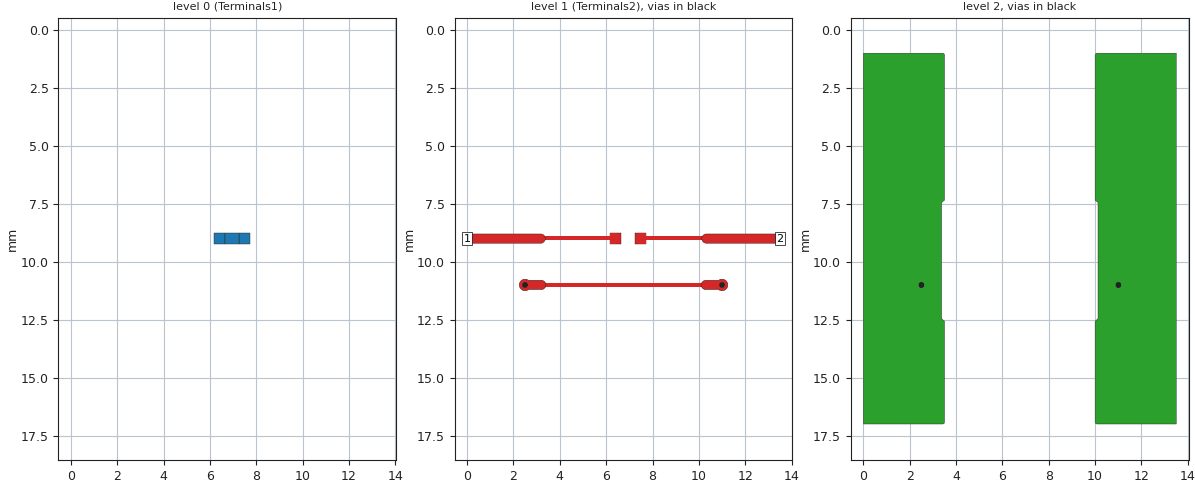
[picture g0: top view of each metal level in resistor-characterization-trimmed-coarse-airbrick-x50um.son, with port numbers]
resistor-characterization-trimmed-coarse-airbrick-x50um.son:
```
FTYP SONPROJ 19 ! Sonnet Project File
VER 18.56
HEADER
LIC antikernel2.1.51813
DAT 11/06/2022 09:23:04
BUILT_BY_CREATED xgeom 18.54 09/23/2022 20:17:08
BUILT_BY_SAVED sonnet 18.56
MDATE 11/06/2022 09:23:04
HDATE 11/06/2022 09:23:04
ANN Created by dxfgeo, Sonnet Software Inc.
END HEADER
DIM
ANG DEG
CAP FF
CON /OH
FREQ GHZ
IND PH
LNG MM
RES OH
END DIM
CONTROL
VARSWP
OPTIONS  -dj
SPEED 1
CACHE_ABS 2
Q_ACC N
END CONTROL
GEO
DRP1 LEFT NONE 2
DRP1 RIGHT NONE 2
TMET "Free Space" 0 FREESPACE 376.7303136 0 0 0
BMET "Free Space" 0 FREESPACE 376.7303136 0 0 0
MET "Copper_1oz+plated_thick_up" 1 TMM 58000000 0.5 0.0432 2
MET "Copper_1oz+plated_thin" 4 NOR 58000000 0.5 0.0432 
MET "Copper_0.5oz_thin" 2 NOR 58000000 0.5 0.0175 
MET "Copper_1oz+plated_thick_down" 3 TMM 58000000 0.5 0.0432 2 CDVY TDWN
MET "Nickel" 1 TVM 7.5e-06 0.175  RSVY
MET "Nickel 0.175mm" 5 TMM 6.99e-08 0.5 0.175 4 RSVY
MET "Tin" 2 TVM 8700000 0.5 
MET "Copper" 4 TMM 58000000 0.5 0.035 2 CDVY TDWN
MET "Solder" 37 TMM 8700000 0.5 0.5 4
MET "Resistor 265" 3 RES 265  0.05
MET "Resistor 375" 6 RES 375  0.035
MET "Copper 35um" 1 VOL 58000000 0.035
BRI "Alumina 99.5" 1 9.8 0.0001 0 
BOX 5 13.5 18 540 1440 20 0
      10 1 1 0 0 0 0 "Air"
      0.5 1 1 0 0 0 5 "Air"
      0.2021 3.61 1 0.0092 0 0 2 "Isola_FR408HR"
      1.1938 3.61 1 0.0092 0 0 2 "Isola_FR408HR"
      0.2021 3.61 1 0.0092 0 0 2 "Isola_FR408HR"
      10 1 1 0 0 0 0 "Air"
TECHLAY METAL Terminals1 <UNSPECIFIED> -12 -65534 
0 0 0 N 550 1 1 100 100 0 0 0 Y
END
END
TECHLAY METAL Resistor <UNSPECIFIED> -13 -65534 
0 0 10 N 552 1 1 100 100 0 0 0 Y
END
END
TECHLAY METAL Terminals2 <UNSPECIFIED> -9 -65534 
1 0 3 N 555 1 1 100 100 0 0 0 Y
END
END
TECHLAY METAL NickelLeadwire <UNSPECIFIED> -8 -65534 
1 0 5 N 557 1 1 100 100 0 0 0 Y
END
END
TECHLAY METAL Solder <UNSPECIFIED> -11 -65534 
1 0 8 N 559 1 1 100 100 0 0 0 Y
END
END
TECHLAY BRICK ResistorBody <UNSPECIFIED> -10 -65534 
BRI POLY
1 0 1 N 695 1 1 100 100 0 0 0 Y
END
END
TECHLAY METAL F.Cu_thin <UNSPECIFIED> -2 -65534 CAD F.Cu_thin drawing 
1 0 1 N 563 1 1 100 100 0 0 0 Y
END
END
TECHLAY METAL F.Cu_thick L1D0 -1 -65534 CAD F.Cu drawing 
1 0 0 N 565 1 1 100 100 0 0 0 Y
END
END
TECHLAY VIA Via1 L3D0 -7 -65534 CAD Via1 drawing 
VIA POLYGON
1 0 11 N 696 1 1 100 100 0 0 0 Y
TOLEVEL 4 RING NOCOVERS
END
END
TECHLAY METAL In1.Cu L2D0 -3 -65534 CAD In1.Cu drawing 
2 0 2 N 576 1 1 100 100 0 0 0 Y
END
END
TECHLAY BRICK AirCutout1 <UNSPECIFIED> -14 0 
BRI POLY
2 0 0 N 699 5 5 500 500 0 0 0 N
END
END
TECHLAY METAL In2.Cu <UNSPECIFIED> -4 -65534 CAD In2.Cu drawing 
3 0 2 N 579 1 1 100 100 0 0 0 Y
END
END
TECHLAY BRICK AirCutout2 <UNSPECIFIED> -15 0 
BRI POLY
3 0 0 N 700 1 1 500 500 0 0 0 N
END
END
TECHLAY METAL B.Cu_thin <UNSPECIFIED> -6 -65534 CAD B.Cu_thin drawing 
4 0 1 N 582 1 1 100 100 0 0 0 Y
END
END
TECHLAY METAL B.Cu_thick <UNSPECIFIED> -5 -65534 CAD B.Cu drawing 
4 0 3 N 584 1 1 100 100 0 0 0 Y
END
END
TECHLAY BRICK AirCutout3 <UNSPECIFIED> -16 0 
BRI POLY
4 0 0 N 701 1 1 500 500 0 0 0 N
END
END
LORGN 0 18 U 
POR1 BOX
POLY 607 1
31
1 50 0 0 0 0 9 
POR1 BOX
POLY 610 1
33
2 50 0 0 0 13.5 9 
NUM 20
0 5 0 N 339 1 1 100 100 0 0 0 Y
TLAYNAM Terminals1 INH
6.1625 8.75
6.6375 8.75
6.6375 9.25
6.1625 9.25
6.1625 8.75
END
0 5 0 N 338 1 1 100 100 0 0 0 Y
TLAYNAM Terminals1 INH
7.2375 8.75
7.7125 8.75
7.7125 9.25
7.2375 9.25
7.2375 8.75
END
0 5 10 N 343 1 1 100 100 0 0 0 Y
TLAYNAM Resistor INH
6.6375 8.75
7.2375 8.75
7.2375 9.25
6.6375 9.25
6.6375 8.75
END
1 5 3 N 323 1 1 100 100 0 0 0 Y
TLAYNAM Terminals2 INH
7.2375 8.75
7.7125 8.75
7.7125 9.25
7.2375 9.25
7.2375 8.75
END
1 5 3 N 447 1 1 100 100 0 0 0 Y
TLAYNAM Terminals2 INH
6.1625 8.75
6.6375 8.75
6.6375 9.25
6.1625 9.25
6.1625 8.75
END
1 5 5 N 286 1 1 100 100 0 0 0 Y
TLAYNAM NickelLeadwire INH
2.9125 10.925
10.4125 10.925
10.4125 11.1
2.9125 11.1
2.9125 10.925
END
1 5 5 N 328 1 1 100 100 0 0 0 Y
TLAYNAM NickelLeadwire INH
10.4125 8.9
7.4375 8.9
7.4375 9.075
10.4125 9.075
10.4125 8.9
END
1 5 5 N 329 1 1 100 100 0 0 0 Y
TLAYNAM NickelLeadwire INH
6.4375 8.9
2.9125 8.9
2.9125 9.075
6.4375 9.075
6.4375 8.9
END
1 5 8 N 322 1 1 100 100 0 0 0 Y
TLAYNAM Solder INH
7.4375 8.75
7.7125 8.75
7.7125 9.25
7.4375 9.25
7.4375 8.75
END
1 5 8 N 319 1 1 100 100 0 0 0 Y
TLAYNAM Solder INH
6.1625 8.75
6.4375 8.75
6.4375 9.25
6.1625 9.25
6.1625 8.75
END
BRI POLY
1 5 1 N 321 1 1 100 100 0 0 0 Y
TLAYNAM ResistorBody INH
6.4375 8.75
7.4375 8.75
7.4375 9.25
6.4375 9.25
6.4375 8.75
END
1 81 0 N 448 1 1 100 100 0 0 0 Y
USER_DAT FromImport
2.488 11.25
2.463 11.247
2.439 11.243
2.416 11.235
2.393 11.226
2.371 11.214
2.351 11.201
2.332 11.185
2.315 11.168
2.299 11.149
2.286 11.129
2.274 11.107
2.265 11.084
2.257 11.061
2.253 11.037
2.25 11.012
2.25 10.988
2.253 10.963
2.257 10.939
2.265 10.916
2.274 10.893
2.286 10.871
2.299 10.851
2.315 10.832
2.332 10.815
2.351 10.799
2.371 10.786
2.393 10.774
2.416 10.765
2.439 10.757
2.463 10.753
2.488 10.75
2.512 10.75
2.537 10.753
2.561 10.757
2.584 10.765
2.607 10.774
2.629 10.786
2.649 10.799
2.65 10.8
3.21 10.8
3.229 10.802
3.249 10.806
3.267 10.811
3.286 10.819
3.303 10.828
3.319 10.839
3.334 10.852
3.348 10.866
3.361 10.881
3.372 10.897
3.381 10.914
3.389 10.933
3.394 10.951
3.398 10.971
3.4 10.99
3.4 11.01
3.398 11.029
3.394 11.049
3.389 11.067
3.381 11.086
3.372 11.103
3.361 11.119
3.348 11.134
3.334 11.148
3.319 11.161
3.303 11.172
3.286 11.181
3.267 11.189
3.249 11.194
3.229 11.198
3.21 11.2
2.65 11.2
2.649 11.201
2.629 11.214
2.607 11.226
2.584 11.235
2.561 11.243
2.537 11.247
2.512 11.25
2.488 11.25
END
1 81 0 N 449 1 1 100 100 0 0 0 Y
USER_DAT FromImport
10.988 11.25
10.963 11.247
10.939 11.243
10.916 11.235
10.893 11.226
10.871 11.214
10.851 11.201
10.85 11.2
10.29 11.2
10.271 11.198
10.251 11.194
10.233 11.189
10.214 11.181
10.197 11.172
10.181 11.161
10.166 11.148
10.152 11.134
10.139 11.119
10.128 11.103
10.119 11.086
10.111 11.067
10.106 11.049
10.102 11.029
10.1 11.01
10.1 10.99
10.102 10.971
10.106 10.951
10.111 10.933
10.119 10.914
10.128 10.897
10.139 10.881
10.152 10.866
10.166 10.852
10.181 10.839
10.197 10.828
10.214 10.819
10.233 10.811
10.251 10.806
10.271 10.802
10.29 10.8
10.85 10.8
10.851 10.799
10.871 10.786
10.893 10.774
10.916 10.765
10.939 10.757
10.963 10.753
10.988 10.75
11.012 10.75
11.037 10.753
11.061 10.757
11.084 10.765
11.107 10.774
11.129 10.786
11.149 10.799
11.168 10.815
11.185 10.832
11.201 10.851
11.214 10.871
11.226 10.893
11.235 10.916
11.243 10.939
11.247 10.963
11.25 10.988
11.25 11.012
11.247 11.037
11.243 11.061
11.235 11.084
11.226 11.107
11.214 11.129
11.201 11.149
11.185 11.168
11.168 11.185
11.149 11.201
11.129 11.214
11.107 11.226
11.084 11.235
11.061 11.243
11.037 11.247
11.012 11.25
10.988 11.25
END
VIA POLYGON
1 53 11 N 460 1 1 100 100 0 0 0 Y
TOLEVEL 4 RING NOCOVERS
USER_DAT FromImport
2.5 11.125
2.476 11.123
2.464 11.12
2.452 11.115
2.441 11.11
2.431 11.104
2.421 11.097
2.403 11.079
2.396 11.069
2.39 11.059
2.385 11.048
2.38 11.036
2.377 11.024
2.375 11
2.377 10.976
2.38 10.964
2.385 10.952
2.39 10.941
2.396 10.931
2.403 10.921
2.421 10.903
2.431 10.896
2.441 10.89
2.452 10.885
2.464 10.88
2.476 10.877
2.5 10.875
2.524 10.877
2.536 10.88
2.548 10.885
2.559 10.89
2.569 10.896
2.579 10.903
2.597 10.921
2.604 10.931
2.61 10.941
2.615 10.952
2.62 10.964
2.623 10.976
2.625 11
2.623 11.024
2.62 11.036
2.615 11.048
2.61 11.059
2.604 11.069
2.597 11.079
2.579 11.097
2.569 11.104
2.559 11.11
2.548 11.115
2.536 11.12
2.524 11.123
2.5 11.125
END
VIA POLYGON
1 53 11 N 461 1 1 100 100 0 0 0 Y
TOLEVEL 4 RING NOCOVERS
USER_DAT FromImport
11 11.125
10.976 11.123
10.964 11.12
10.952 11.115
10.941 11.11
10.931 11.104
10.921 11.097
10.903 11.079
10.896 11.069
10.89 11.059
10.885 11.048
10.88 11.036
10.877 11.024
10.875 11
10.877 10.976
10.88 10.964
10.885 10.952
10.89 10.941
10.896 10.931
10.903 10.921
10.921 10.903
10.931 10.896
10.941 10.89
10.952 10.885
10.964 10.88
10.976 10.877
11 10.875
11.024 10.877
11.036 10.88
11.048 10.885
11.059 10.89
11.069 10.896
11.079 10.903
11.097 10.921
11.104 10.931
11.11 10.941
11.115 10.952
11.12 10.964
11.123 10.976
11.125 11
11.123 11.024
11.12 11.036
11.115 11.048
11.11 11.059
11.104 11.069
11.097 11.079
11.079 11.097
11.069 11.104
11.059 11.11
11.048 11.115
11.036 11.12
11.024 11.123
11 11.125
END
1 35 0 N 607 1 1 100 100 0 0 0 Y
USER_DAT FromImport
3.204 9.198
3.223 9.194
3.242 9.189
3.26 9.181
3.278 9.172
3.294 9.161
3.309 9.148
3.323 9.134
3.335 9.119
3.346 9.103
3.356 9.086
3.363 9.067
3.369 9.049
3.373 9.029
3.375 9.01
3.375 8.99
3.373 8.971
3.369 8.951
3.363 8.933
3.356 8.914
3.346 8.897
3.335 8.881
3.323 8.866
3.309 8.852
3.294 8.839
3.278 8.828
3.26 8.819
3.242 8.811
3.223 8.806
3.204 8.802
3.184 8.8
0 8.8
0 9.2
3.184 9.2
3.204 9.198
END
1 35 0 N 610 1 1 100 100 0 0 0 Y
USER_DAT FromImport
13.5 8.8
10.315 8.8
10.296 8.802
10.276 8.806
10.258 8.811
10.239 8.819
10.222 8.828
10.206 8.839
10.191 8.852
10.177 8.866
10.164 8.881
10.153 8.897
10.144 8.914
10.136 8.933
10.131 8.951
10.127 8.971
10.125 8.99
10.125 9.01
10.127 9.029
10.131 9.049
10.136 9.067
10.144 9.086
10.153 9.103
10.164 9.119
10.177 9.134
10.191 9.148
10.206 9.161
10.222 9.172
10.239 9.181
10.258 9.189
10.276 9.194
10.296 9.198
10.315 9.2
13.5 9.2
13.5 8.8
END
2 51 2 N 608 1 1 100 100 0 0 0 Y
USER_DAT FromImport
3.439 16.999
3.483 16.974
3.5 16.926
3.5 12.588
3.49 12.552
3.462 12.527
3.463 12.525
3.458 12.521
3.446 12.518
3.429 12.504
3.42 12.497
3.41 12.491
3.401 12.485
3.398 12.477
3.397 12.476
3.39 12.47
3.386 12.454
3.38 12.439
3.371 12.418
3.373 12.408
3.374 12.396
3.375 12.386
3.375 7.527
3.371 7.518
3.373 7.508
3.374 7.496
3.375 7.486
3.375 7.463
3.379 7.456
3.38 7.456
3.38 7.454
3.382 7.446
3.396 7.429
3.403 7.42
3.409 7.41
3.415 7.401
3.423 7.398
3.424 7.397
3.43 7.39
3.44 7.387
3.447 7.385
3.483 7.362
3.5 7.314
3.5 1.074
3.499 1.061
3.474 1.017
3.426 1
0 1
0 17
3.426 17
3.439 16.999
END
2 50 2 N 611 1 1 100 100 0 0 0 Y
USER_DAT FromImport
13.5 1
10.074 1
10.061 1.001
10.017 1.026
10 1.074
10 7.312
10.01 7.348
10.038 7.373
10.037 7.375
10.042 7.379
10.054 7.382
10.062 7.389
10.08 7.403
10.099 7.415
10.102 7.423
10.103 7.424
10.11 7.43
10.113 7.44
10.116 7.451
10.12 7.461
10.129 7.482
10.127 7.492
10.126 7.504
10.125 7.514
10.125 12.373
10.129 12.382
10.127 12.392
10.126 12.404
10.125 12.414
10.125 12.437
10.121 12.444
10.12 12.444
10.12 12.446
10.118 12.454
10.111 12.462
10.097 12.48
10.085 12.499
10.077 12.502
10.076 12.503
10.07 12.51
10.06 12.513
10.053 12.515
10.017 12.538
10 12.586
10 16.926
10.001 16.939
10.026 16.983
10.074 17
13.5 17
13.5 1
END
BRI POLY
2 5 0 N 667 5 5 500 500 0 0 0 N
TLAYNAM AirCutout1 INH
3.375 8.475
10.111 8.475
10.111 11.45
3.375 11.45
3.375 8.475
END
END GEO
OPT
MAX 100
END OPT
VARSWP
ENABLED Y
FREQ Y AY ABS_ENTRY 0.1 8.5 -1 300 
END
END VARSWP
3DOPTIONS
GLOBAL 1
ALL 6 1
END 3DOPTIONS
```
